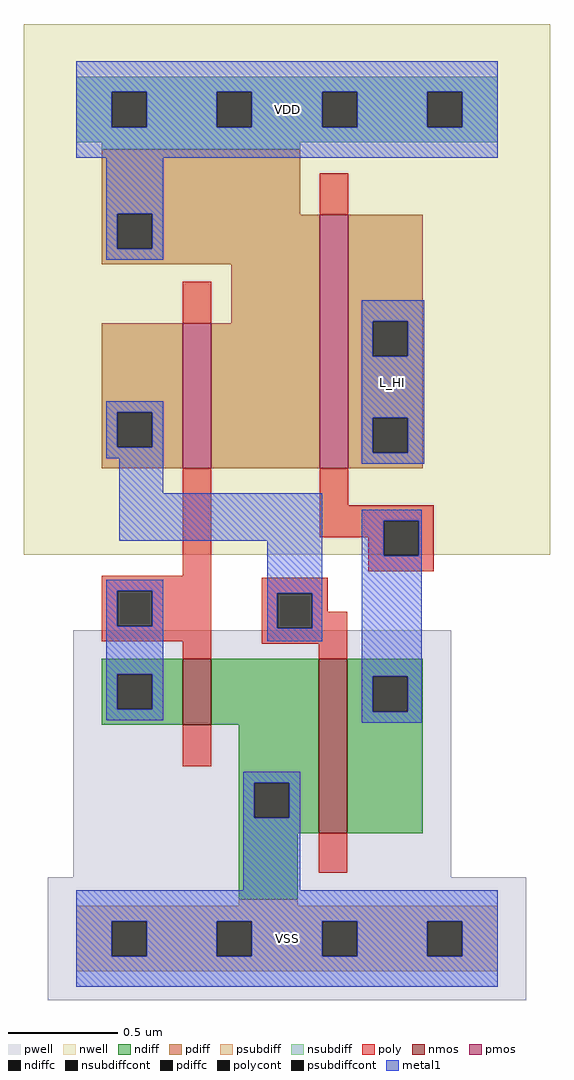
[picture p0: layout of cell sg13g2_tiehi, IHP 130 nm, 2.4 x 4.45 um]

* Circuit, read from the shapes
.subckt sg13g2_tiehi L_HI VDD VSS
XM1 VSS n1 n1 VSS sg13_lv_nmos w=0.3u l=0.13u
XM2 n2 n3 VSS VSS sg13_lv_nmos w=0.795u l=0.13u
XM3 VDD n1 n3 VDD sg13_lv_pmos w=0.66u l=0.13u
XM4 L_HI n2 VDD VDD sg13_lv_pmos w=1.155u l=0.13u
.ends

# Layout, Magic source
magic
tech ihp-sg13g2
magscale 1 2
<< nwell >>
rect -48 350 432 834
<< pwell >>
rect -3 56 342 281
rect -26 -56 410 56
<< nmos >>
rect 97 195 123 255
rect 221 96 247 255
<< pmos >>
rect 97 429 123 561
rect 222 429 248 660
<< ndiff >>
rect 23 241 97 255
rect 23 209 37 241
rect 69 209 97 241
rect 23 195 97 209
rect 123 195 221 255
rect 148 142 221 195
rect 148 110 162 142
rect 194 110 221 142
rect 148 96 221 110
rect 247 239 316 255
rect 247 207 270 239
rect 302 207 316 239
rect 247 96 316 207
rect 148 36 202 96
<< pdiff >>
rect 23 661 204 720
rect 23 629 37 661
rect 69 660 204 661
rect 69 629 222 660
rect 23 615 222 629
rect 141 561 222 615
rect 23 480 97 561
rect 23 448 37 480
rect 69 448 97 480
rect 23 429 97 448
rect 123 429 222 561
rect 248 563 316 660
rect 248 531 270 563
rect 302 531 316 563
rect 248 475 316 531
rect 248 443 270 475
rect 302 443 316 475
rect 248 429 316 443
<< ndiffc >>
rect 37 209 69 241
rect 162 110 194 142
rect 270 207 302 239
<< pdiffc >>
rect 37 629 69 661
rect 37 448 69 480
rect 270 531 302 563
rect 270 443 302 475
<< psubdiff >>
rect 148 30 202 36
rect 0 16 384 30
rect 0 -16 32 16
rect 64 -16 128 16
rect 160 -16 224 16
rect 256 -16 320 16
rect 352 -16 384 16
rect 0 -30 384 -16
<< nsubdiff >>
rect 0 772 384 786
rect 0 740 32 772
rect 64 740 128 772
rect 160 740 224 772
rect 256 740 320 772
rect 352 740 384 772
rect 0 726 384 740
rect 23 720 204 726
<< psubdiffcont >>
rect 32 -16 64 16
rect 128 -16 160 16
rect 224 -16 256 16
rect 320 -16 352 16
<< nsubdiffcont >>
rect 32 740 64 772
rect 128 740 160 772
rect 224 740 256 772
rect 320 740 352 772
<< poly >>
rect 222 660 248 698
rect 97 561 123 599
rect 97 331 123 429
rect 222 395 248 429
rect 222 381 326 395
rect 222 366 280 381
rect 266 349 280 366
rect 312 349 326 381
rect 266 335 326 349
rect 23 317 123 331
rect 23 285 37 317
rect 69 285 123 317
rect 23 271 123 285
rect 97 255 123 271
rect 169 315 229 329
rect 169 283 183 315
rect 215 298 229 315
rect 215 283 247 298
rect 169 269 247 283
rect 221 255 247 269
rect 97 157 123 195
rect 221 60 247 96
<< polycont >>
rect 280 349 312 381
rect 37 285 69 317
rect 183 283 215 315
<< metal1 >>
rect 0 772 384 800
rect 0 740 32 772
rect 64 740 128 772
rect 160 740 224 772
rect 256 740 320 772
rect 352 740 384 772
rect 0 712 384 740
rect 27 661 79 712
rect 27 629 37 661
rect 69 629 79 661
rect 27 619 79 629
rect 260 563 317 582
rect 260 531 270 563
rect 302 531 317 563
rect 27 480 79 490
rect 27 448 37 480
rect 69 448 79 480
rect 27 438 79 448
rect 39 406 79 438
rect 260 475 317 531
rect 260 443 270 475
rect 302 443 317 475
rect 260 433 317 443
rect 39 363 224 406
rect 27 317 79 327
rect 27 285 37 317
rect 69 285 79 317
rect 27 241 79 285
rect 174 315 224 363
rect 174 283 183 315
rect 215 283 224 315
rect 174 271 224 283
rect 260 381 315 391
rect 260 349 280 381
rect 312 349 315 381
rect 27 209 37 241
rect 69 209 79 241
rect 27 199 79 209
rect 260 239 315 349
rect 260 207 270 239
rect 302 207 315 239
rect 260 197 315 207
rect 152 142 204 152
rect 152 110 162 142
rect 194 110 204 142
rect 152 44 204 110
rect 0 16 384 44
rect 0 -16 32 16
rect 64 -16 128 16
rect 160 -16 224 16
rect 256 -16 320 16
rect 352 -16 384 16
rect 0 -44 384 -16
<< labels >>
flabel metal1 s 260 433 317 582 0 FreeSans 400 0 0 0 L_HI
port 2 nsew
flabel metal1 s 0 712 384 800 0 FreeSans 400 0 0 0 VDD
port 3 nsew
flabel metal1 s 0 -44 384 44 0 FreeSans 400 0 0 0 VSS
port 4 nsew
<< properties >>
string FIXED_BBOX 0 0 384 756
string GDS_END 75094
string GDS_FILE 6_final.gds
string GDS_START 71706
<< end >>
